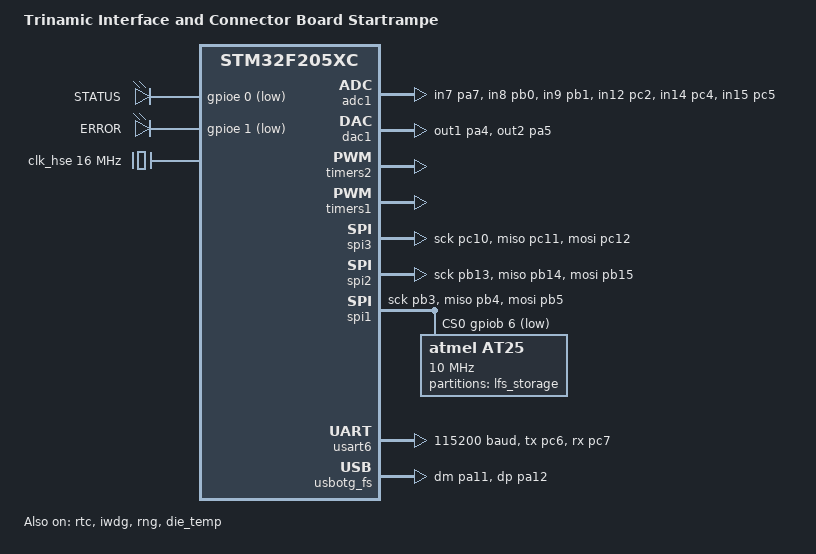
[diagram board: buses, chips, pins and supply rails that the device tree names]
/*
 * Copyright (c) 2023 TiaC Systems
 *
 * SPDX-License-Identifier: Apache-2.0
 */

/dts-v1/;
#include <st/f2/stm32f205Xc.dtsi>
#include <st/f2/stm32f205v(b-c-e-f-g)tx-pinctrl.dtsi>

#include <zephyr/dt-bindings/gpio/gpio.h>
#include <zephyr/dt-bindings/pwm/pwm.h>

/ {
	model = "Trinamic Interface and Connector Board Startrampe";
	compatible = "trinamic,startrampe";

	chosen {
		zephyr,sram = &sram0;
		zephyr,flash = &flash0;
	}; // chosen

	/*
	 * These aliases are provided for compatibility
	 * with samples and tests.
	 */
	aliases {
		led0 = &green_led;
		led1 = &red_led;
		watchdog0 = &iwdg;
		spi-eeprom0 = &at25;
	}; // aliases

	leds {
		compatible = "gpio-leds";
		green_led: led_status {
			gpios = <&gpioe 0 GPIO_ACTIVE_LOW>;
			label = "STATUS";
		}; // green_led
		red_led: led_error {
			gpios = <&gpioe 1 GPIO_ACTIVE_LOW>;
			label = "ERROR";
		}; // red_led
	}; // leds
};

&clk_hse { /* 16MHz crystal */
	status = "okay";
	clock-frequency = <DT_FREQ_M(16)>;
}; // clk_hse

&pll {
	status = "okay";
	clocks = <&clk_hse>;
	div-m = <16>;
	mul-n = <240>;
	div-p = <2>;
	div-q = <5>;
}; // pll

&rcc {
	status = "okay";
	clocks = <&pll>;
	ahb-prescaler = <1>;
	apb1-prescaler = <4>;
	apb2-prescaler = <2>;
	clock-frequency = <DT_FREQ_M(120)>;
}; // rcc

&clk_lsi {
	status = "okay";
}; // clk_lsi

&rtc {
	status = "okay";
	clocks = <&rcc STM32_CLOCK_BUS_APB1 0x10000000>,
		 <&rcc STM32_SRC_LSI RTC_SEL(2)>;
}; // rtc

&iwdg {
	status = "okay";
}; // iwdg

&rng {
	status = "okay";
}; // rng

&die_temp {
	status = "okay";
}; // die_temp

&backup_sram {
	status = "okay";
}; // backup_sram

&adc1 {
	status = "okay";
	pinctrl-names = "default";
	pinctrl-0 = <&adc1_in7_pa7
		     &adc1_in8_pb0
		     &adc1_in9_pb1
		     &adc1_in12_pc2
		     &adc1_in14_pc4
		     &adc1_in15_pc5>;
}; // adc1

&dac1 {
	status = "okay";
	pinctrl-names = "default";
	pinctrl-0 = <&dac_out1_pa4
		     &dac_out2_pa5>;
}; // dac1

&timers2 {
	status = "okay";

	pwm2: pwm {
		status = "okay";
		pinctrl-names = "default";
		pinctrl-0 = <&tim2_ch1_pa0
			     &tim2_ch2_pa1
			     &tim2_ch3_pa2
			     &tim2_ch4_pa3>;
	}; // pwm2
}; // timers2

&timers1 {
	status = "okay";

	pwm1: pwm {
		status = "okay";
		pinctrl-names = "default";
		pinctrl-0 = <&tim1_ch1n_pe8
			     &tim1_ch1_pe9
			     &tim1_ch2n_pe10
			     &tim1_ch2_pe11
			     &tim1_ch3n_pe12
			     &tim1_ch3_pe13>;
	}; // pwm1
}; // timers1

&spi3 { /* Interface SPI1 */
	status = "okay";
	pinctrl-names = "default";
	pinctrl-0 = <&spi3_sck_pc10
		     &spi3_miso_pc11
		     &spi3_mosi_pc12>;
	cs-gpios = <&gpioa 15 (GPIO_ACTIVE_LOW | GPIO_PULL_UP)>;
}; // spi3

&spi2 { /* Interface SPI2 */
	status = "okay";
	pinctrl-names = "default";
	pinctrl-0 = <&spi2_sck_pb13
		     &spi2_miso_pb14
		     &spi2_mosi_pb15>;
	cs-gpios = <&gpioe 15 (GPIO_ACTIVE_LOW | GPIO_PULL_UP)>,
		   <&gpiob 11 (GPIO_ACTIVE_LOW | GPIO_PULL_UP)>,
		   <&gpiob 12 (GPIO_ACTIVE_LOW | GPIO_PULL_UP)>;
}; // spi2

&spi1 { /* on-board SPI3 */
	status = "okay";
	pinctrl-names = "default";
	pinctrl-0 = <&spi1_sck_pb3 &spi1_miso_pb4 &spi1_mosi_pb5>;
	cs-gpios = <&gpiob 6 (GPIO_ACTIVE_LOW | GPIO_PULL_UP)>;

	at25: at25128b@0 {
		status = "okay";
		compatible = "atmel,at25";

		reg = <0>;
		spi-max-frequency = <DT_FREQ_M(10)>;

		size = <DT_SIZE_K(16)>;
		address-width = <16>;
		pagesize = <16>;
		timeout = <5>;
	}; // at25
}; // spi1

&i2c1 { /* spare, but not connected */
	status = "disabled";
	pinctrl-names = "default";
	pinctrl-0 = <&i2c1_scl_pb8
		     &i2c1_sda_pb9>;
	clock-frequency = <I2C_BITRATE_FAST>;
}; // i2c1

&usart6 { /* on-board UART to RS232 connector */
	status = "okay";
	pinctrl-names = "default";
	pinctrl-0 = <&usart6_tx_pc6
		     &usart6_rx_pc7>;
	current-speed = <115200>;
}; // usart6

&usart3 { /* on-board UART to wireless module (optional) */
	status = "disabled";
	pinctrl-names = "default";
	pinctrl-0 = <&usart3_tx_pd8
		     &usart3_rx_pd9>;
	current-speed = <115200>;
}; // usart3

&usart2 { /* Interface USART (optional) */
	status = "disabled";
	pinctrl-names = "default";
	pinctrl-0 = <&usart2_rx_pd6
		     &usart2_tx_pd5
		     &usart2_rts_pd4
		     &usart2_cts_pd3>;
	current-speed = <115200>;
}; // usart2

#if 0 /* not yet, needs improvements in Zephyr DTS include files */
&can1 { /* Interface CAN (optional) */
	status = "disabled";
	pinctrl-names = "default";
	pinctrl-0 = <&can1_rx_pd0
		     &can1_tx_pd1>;
	bus-speed = <1000000>;
	sjw = <1>;
	prop-seg = <0>;
	phase-seg1 = <15>;
	phase-seg2 = <2>;
}; // can1
#endif

&flash0 {
	partitions {
		compatible = "fixed-partitions";
		#address-cells = <1>;
		#size-cells = <1>;

		/*
		 * Last sector of size 128KB at the end of 256KB flash
		 * is set for storage.
		 */
		storage_partition: partition@20000 {
			label = "storage";
			reg = <0x00020000 DT_SIZE_K(128)>;
		}; // storage_partition
	}; // partitions
}; // flash0

&at25 {
	partitions {
		compatible = "fixed-partitions";
		#address-cells = <1>;
		#size-cells = <1>;

		/* 8K reserved for slot1 */

		/* 8K */
		lfs_partition: partition@2000 {
			label = "lfs_storage";
			reg = <0x00002000 DT_SIZE_K(8)>;
		}; // lfs_partition
	}; // partitions
}; // at25

zephyr_udc0: &usbotg_fs {
	status = "okay";
	pinctrl-names = "default";
	pinctrl-0 = <&usb_otg_fs_dm_pa11
		     &usb_otg_fs_dp_pa12>;
}; // zephyr_udc0
